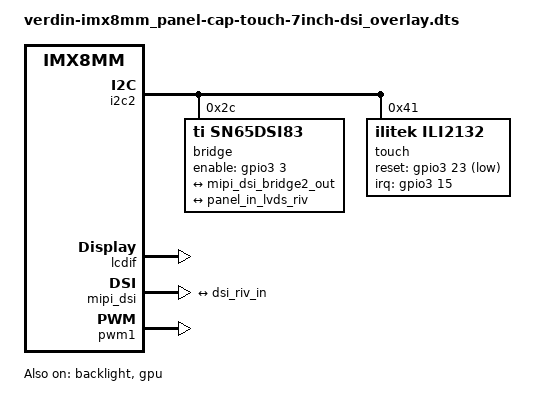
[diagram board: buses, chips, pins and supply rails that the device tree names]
// SPDX-License-Identifier: GPL-2.0-or-later OR MIT
/*
 * Copyright 2024 Toradex
 */

// Verdin with connected Capacitive Touch Display 7" DSI.

/dts-v1/;
/plugin/;

/ {
	compatible = "toradex,verdin-imx8mm";
};

#include <dt-bindings/interrupt-controller/arm-gic.h>
#include <dt-bindings/gpio/gpio.h>
#include "display-rvt70hslnwca0_overlay.dtsi"

&backlight {
	pwms = <&pwm1 0 6666667 0>;
	status = "okay";
};

&gpu {
	status = "okay";
};

/* Verdin I2C_2_DSI */
&i2c2 {
	#address-cells = <1>;
	#size-cells = <0>;
	status = "okay";

	bridge@2c {
		compatible = "ti,sn65dsi83";
		reg = <0x2c>;
		/* IRQ not connected */
		/* Verdin GPIO_10_DSI (SODIMM 21) */
		enable-gpios = <&gpio3 3 GPIO_ACTIVE_HIGH>;
		pinctrl-names = "default";
		pinctrl-0 = <&pinctrl_gpio_10_dsi>;

		ports {
			#address-cells = <1>;
			#size-cells = <0>;

			port@0 {
				reg = <0>;

				dsi_riv_in: endpoint {
					data-lanes = <1 2 3 4>;
					remote-endpoint = <&mipi_dsi_bridge2_out>;
				};
			};

			port@2 {
				reg = <2>;

				lvds_out_panel_riv: endpoint {
					remote-endpoint = <&panel_in_lvds_riv>;
				};
			};
		};
	};

	touch@41 {
		compatible = "ilitek,ili2132";
		reg = <0x41>;
		/* Verdin DSI_1_INT# (TOUCH_INT#, SODIMM 17) */
		interrupt-parent = <&gpio3>;
		interrupts = <15 IRQ_TYPE_EDGE_RISING>;
		pinctrl-names = "default";
		pinctrl-0 = <&pinctrl_gpio_9_dsi>, <&pinctrl_i2s_2_bclk_touch_reset>;
		/* Verdin I2S_2_BCLK (TOUCH_RESET#, SODIMM 42) */
		reset-gpios = <&gpio3 23 GPIO_ACTIVE_LOW>;
	};
};

/* LCDIF to MIPI-DSI */
&lcdif {
	status = "okay";
};

&mipi_dsi {
	#address-cells = <1>;
	#size-cells = <0>;
	status = "okay";

	port@1 {
		mipi_dsi_bridge2_out: endpoint {
			attach-bridge;
			remote-endpoint = <&dsi_riv_in>;
		};
	};
};

/* Verdin PWM_1_DSI */
&pwm1 {
	status = "okay";
};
